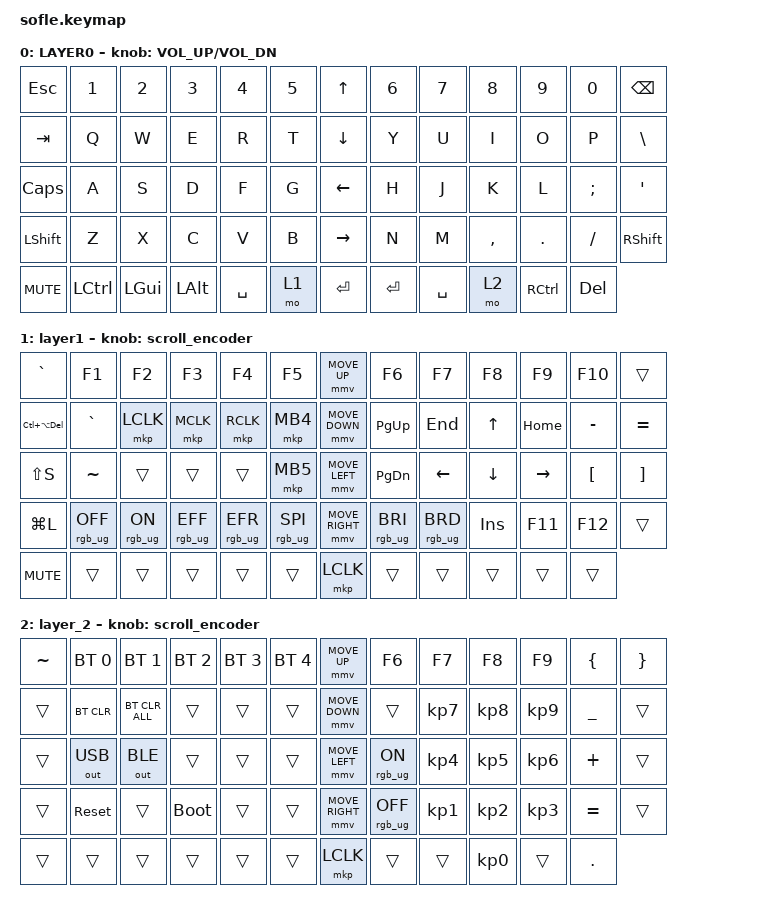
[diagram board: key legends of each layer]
#include <behaviors/mouse_keys.dtsi>
#include <behaviors.dtsi>
#include <dt-bindings/zmk/bt.h>
#include <dt-bindings/zmk/keys.h>
#include <dt-bindings/zmk/mouse.h>
#include <dt-bindings/zmk/outputs.h>
#include <dt-bindings/zmk/rgb.h>

#define ZMK_MOUSE_DEFAULT_MOVE_VAL 1200  // 600
#define ZMK_MOUSE_DEFAULT_SCRL_VAL 20    // 10
#define U_MS_U &mmv MOVE_UP
#define U_MS_D &mmv MOVE_DOWN
#define U_MS_L &mmv MOVE_LEFT
#define U_MS_R &mmv MOVE_RIGHT
#define ZMK_MOUSE_DEFAULT_MOVE_VAL 1200  //  600
#define ZMK_MOUSE_DEFAULT_SCRL_VAL 20    // 10

/ {
    behaviors {
        mmv {
            acceleration-exponent = <1>;      // 1
            time-to-max-speed-ms = <900>;    // 40
            delay-ms = <0>;                   // 0
        };

        msc {
            acceleration-exponent = <1>;      // 0
            time-to-max-speed-ms = <400>;      // 500
            delay-ms = <0>;                   //   10
        };
    };

    scroll_encoder: scroll_encoder {
        compatible = "zmk,behavior-sensor-rotate";
        #sensor-binding-cells = <0>;
        bindings = <&msc SCRL_DOWN>, <&msc SCRL_UP>;

        tap-ms = <30>;
    };

    keymap {
        compatible = "zmk,keymap";

        layer0 {
            bindings = <
&kp ESC     &kp N1     &kp N2        &kp N3        &kp N4     &kp N5    &kp UP_ARROW     &kp N6      &kp N7     &kp N8     &kp N9             &kp N0      &kp BACKSPACE
&kp TAB     &kp Q      &kp W         &kp E         &kp R      &kp T     &kp DOWN_ARROW   &kp Y       &kp U      &kp I      &kp O              &kp P       &kp BSLH
&kp CAPS    &kp A      &kp S         &kp D         &kp F      &kp G     &kp LEFT_ARROW   &kp H       &kp J      &kp K      &kp L              &kp SEMI    &kp APOS
&kp LSHFT   &kp Z      &kp X         &kp C         &kp V      &kp B     &kp RIGHT_ARROW  &kp N       &kp M      &kp COMMA  &kp DOT            &kp FSLH    &kp RIGHT_SHIFT
&kp C_MUTE  &kp LCTRL  &kp LEFT_GUI  &kp LEFT_ALT  &kp SPACE  &mo 1     &kp ENTER        &kp RETURN  &kp SPACE  &mo 2      &kp RIGHT_CONTROL  &kp DELETE
            >;

            sensor-bindings = <&inc_dec_kp C_VOLUME_UP C_VOL_DN>;
            display-name = "LAYER0";
        };

        layer_1 {
            bindings = <
&kp GRAVE           &kp F1           &kp F2          &kp F3           &kp F4           &kp F5             &mmv MOVE_UP     &kp F6           &kp F7           &kp F8      &kp F9     &kp F10           &trans
&kp LC(LA(DELETE))  &kp GRAVE        &mkp LCLK       &mkp MCLK        &mkp RCLK        &mkp MB4           &mmv MOVE_DOWN   &kp PG_UP        &kp END          &kp UP      &kp HOME   &kp MINUS         &kp EQUAL
&kp LS(S)           &kp TILDE        &trans          &trans           &trans           &mkp MB5           &mmv MOVE_LEFT   &kp PG_DN        &kp LEFT         &kp DOWN    &kp RIGHT  &kp LEFT_BRACKET  &kp RIGHT_BRACKET
&kp LG(L)           &rgb_ug RGB_OFF  &rgb_ug RGB_ON  &rgb_ug RGB_EFF  &rgb_ug RGB_EFR  &rgb_ug RGB_SPI    &mmv MOVE_RIGHT  &rgb_ug RGB_BRI  &rgb_ug RGB_BRD  &kp INSERT  &kp F11    &kp F12           &trans
&kp C_MUTE          &trans           &trans          &trans           &trans           &trans             &mkp LCLK        &trans           &trans           &trans      &trans     &trans
            >;

            display-name = "layer1";
            sensor-bindings = <&scroll_encoder>;
        };

        layer_2 {
            bindings = <
&kp TILDE  &bt BT_SEL 0  &bt BT_SEL 1    &bt BT_SEL 2  &bt BT_SEL 3  &bt BT_SEL 4    &mmv MOVE_UP     &kp F6           &kp F7           &kp F8           &kp F9           &kp LEFT_BRACE  &kp RIGHT_BRACE
&trans     &bt BT_CLR    &bt BT_CLR_ALL  &trans        &trans        &trans          &mmv MOVE_DOWN   &trans           &kp KP_NUMBER_7  &kp KP_N8        &kp KP_NUMBER_9  &kp UNDER       &trans
&trans     &out OUT_USB  &out OUT_BLE    &trans        &trans        &trans          &mmv MOVE_LEFT   &rgb_ug RGB_ON   &kp KP_NUMBER_4  &kp KP_N5        &kp KP_NUMBER_6  &kp PLUS        &trans
&trans     &sys_reset    &trans          &bootloader   &trans        &trans          &mmv MOVE_RIGHT  &rgb_ug RGB_OFF  &kp KP_NUMBER_1  &kp KP_N2        &kp KP_NUMBER_3  &kp EQUAL       &trans
&trans     &trans        &trans          &trans        &trans        &trans          &mkp LCLK        &trans           &trans           &kp KP_NUMBER_0  &trans           &kp PERIOD
            >;

            sensor-bindings = <&scroll_encoder>;
        };
    };
};
